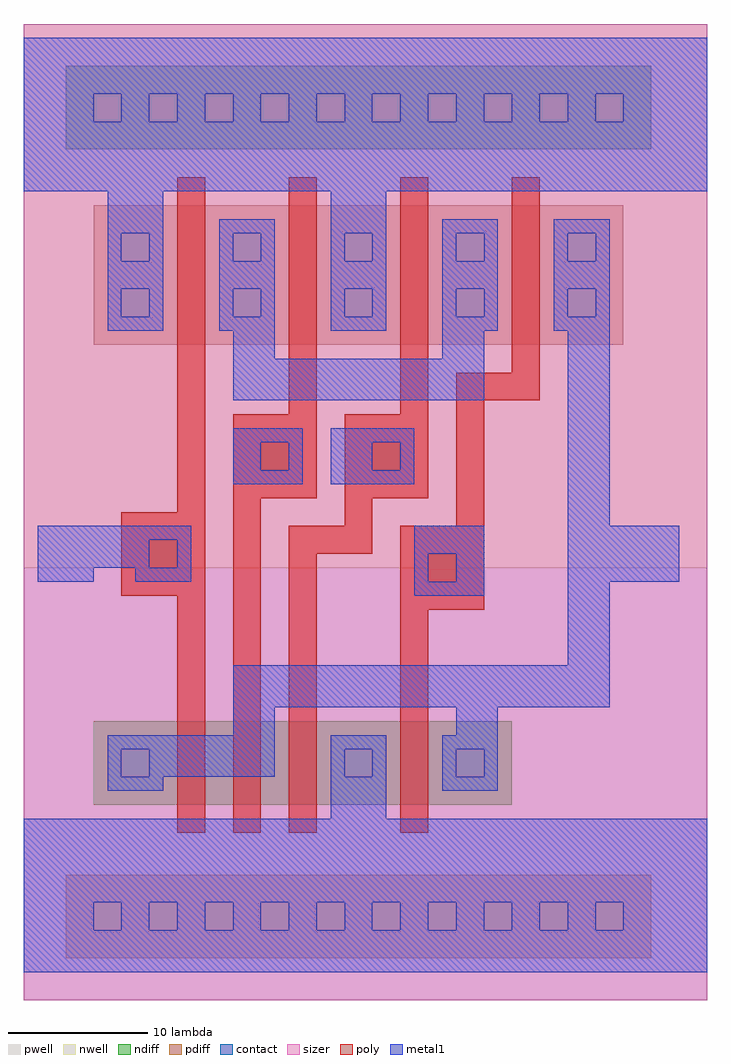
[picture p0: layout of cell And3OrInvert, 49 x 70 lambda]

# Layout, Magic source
magic
tech LibreSilicon-test000-concept-mg-70-7
<< sizer >>
rect 0 0 49 70
<< metal1 >>
rect 0 65 49 69
rect 0 63 5 65
rect 7 63 9 65
rect 11 63 13 65
rect 15 63 17 65
rect 19 63 21 65
rect 23 63 25 65
rect 27 63 29 65
rect 31 63 33 65
rect 35 63 37 65
rect 39 63 41 65
rect 43 63 49 65
rect 0 58 49 63
rect 6 55 10 58
rect 22 55 26 58
rect 14 55 18 56
rect 30 55 34 56
rect 38 55 42 56
rect 6 53 7 55
rect 9 53 10 55
rect 14 53 15 55
rect 17 53 18 55
rect 22 53 23 55
rect 25 53 26 55
rect 30 53 31 55
rect 33 53 34 55
rect 38 53 39 55
rect 41 53 42 55
rect 6 51 10 53
rect 14 51 18 53
rect 22 51 26 53
rect 30 51 34 53
rect 38 51 42 53
rect 6 49 7 51
rect 9 49 10 51
rect 14 49 15 51
rect 17 49 18 51
rect 22 49 23 51
rect 25 49 26 51
rect 30 49 31 51
rect 33 49 34 51
rect 38 49 39 51
rect 41 49 42 51
rect 6 48 10 49
rect 14 48 18 49
rect 22 48 26 49
rect 30 48 34 49
rect 38 48 42 49
rect 15 46 18 48
rect 30 46 33 48
rect 39 34 42 48
rect 15 43 33 46
rect 15 40 20 41
rect 22 40 28 41
rect 15 38 17 40
rect 19 38 20 40
rect 22 38 25 40
rect 27 38 28 40
rect 15 37 20 38
rect 22 37 28 38
rect 1 33 12 34
rect 28 32 33 34
rect 39 30 47 34
rect 1 31 9 33
rect 11 31 12 33
rect 28 30 29 32
rect 31 30 33 32
rect 1 30 5 31
rect 8 30 12 31
rect 28 29 33 30
rect 39 24 42 30
rect 15 21 42 24
rect 15 19 18 21
rect 31 19 34 21
rect 6 18 18 19
rect 22 18 26 19
rect 30 18 34 19
rect 6 16 7 18
rect 9 16 18 18
rect 22 16 23 18
rect 25 16 26 18
rect 30 16 31 18
rect 33 16 34 18
rect 6 15 10 16
rect 22 13 26 16
rect 30 15 34 16
rect 0 7 49 13
rect 0 5 5 7
rect 7 5 9 7
rect 11 5 13 7
rect 15 5 17 7
rect 19 5 21 7
rect 23 5 25 7
rect 27 5 29 7
rect 31 5 33 7
rect 35 5 37 7
rect 39 5 41 7
rect 43 5 49 7
rect 0 2 49 5
<< contact >>
rect 5 63 7 65
rect 9 63 11 65
rect 13 63 15 65
rect 17 63 19 65
rect 21 63 23 65
rect 25 63 27 65
rect 29 63 31 65
rect 33 63 35 65
rect 37 63 39 65
rect 41 63 43 65
rect 7 53 9 55
rect 15 53 17 55
rect 23 53 25 55
rect 31 53 33 55
rect 39 53 41 55
rect 7 49 9 51
rect 15 49 17 51
rect 23 49 25 51
rect 31 49 33 51
rect 39 49 41 51
rect 17 38 19 40
rect 25 38 27 40
rect 9 31 11 33
rect 29 30 31 32
rect 7 16 9 18
rect 23 16 25 18
rect 31 16 33 18
rect 5 5 7 7
rect 9 5 11 7
rect 13 5 15 7
rect 17 5 19 7
rect 21 5 23 7
rect 25 5 27 7
rect 29 5 31 7
rect 33 5 35 7
rect 37 5 39 7
rect 41 5 43 7
<< poly >>
rect 11 35 13 59
rect 19 42 21 59
rect 27 42 29 59
rect 35 45 37 59
rect 31 43 37 45
rect 31 34 33 43
rect 15 36 21 42
rect 23 36 29 42
rect 15 12 17 36
rect 23 34 25 36
rect 7 29 13 35
rect 19 32 25 34
rect 27 28 33 34
rect 19 12 21 32
rect 11 12 13 29
rect 27 12 29 28
<< ndiff >>
rect 3 61 45 67
rect 5 14 35 20
<< pdiff >>
rect 5 47 43 57
rect 3 3 45 9
<< nwell >>
rect 0 31 49 70
<< pwell >>
rect 0 0 49 31
<< end >>
